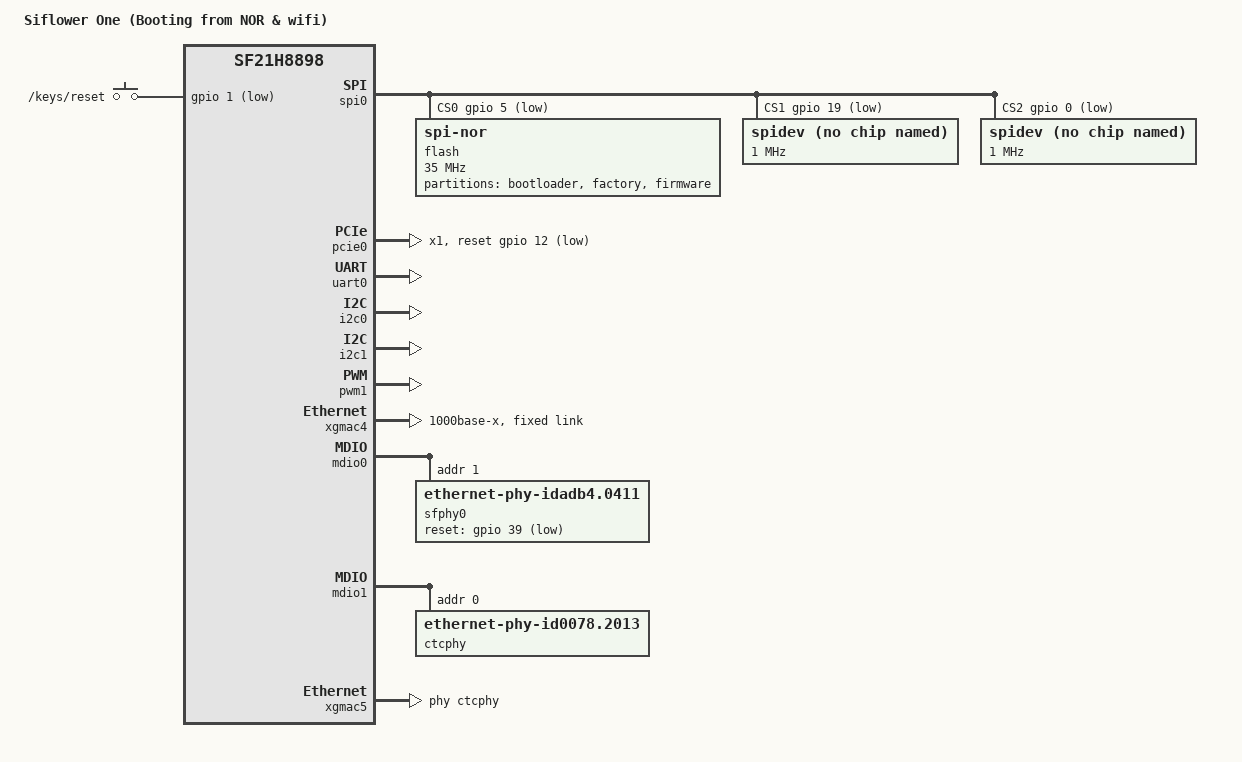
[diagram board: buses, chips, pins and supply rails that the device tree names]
/dts-v1/;
#include "sf21h8898-siflower-one.dtsi"


/ {
	model = "Siflower One (Booting from NOR & wifi)";
	compatible = "siflower,one-nor-wifi", "siflower,melit", "siflower,sf21h8898";

	aliases {
		spi0 = &spi0;
	};
};

&spi0 {
	status = "okay";
	num-cs = <3>;
	cs-gpios = <&gpio 5 GPIO_ACTIVE_LOW>, <&gpio 19 GPIO_ACTIVE_LOW>,
	            <&gpio 0 GPIO_ACTIVE_LOW>;

	flash@0 {
		compatible = "jedec,spi-nor";
		reg = <0>;
		spi-max-frequency = <35000000>;
		spi-tx-bus-width = <4>;
		spi-rx-bus-width = <4>;

	        partitions {
			compatible = "fixed-partitions";
			#address-cells = <1>;
			#size-cells = <1>;

			partition@0 {
				label = "bootloader";
				reg = <0x0 0x90000>;
				read-only;
			};

			factory: partition@90000 {
				label = "factory";
				reg = <0x90000 0x10000>;
			};

			partition@a0000 {
				label = "firmware";
				reg = <0xa0000 0x0>;
				compatible = "denx,fit";
			};
		};
	};

	/* ---- 底板 QJ32F108 MCU：用户态 /dev/spidev0.1 访问 ----
	 * reg = <1> 对应上面 cs-gpios 的第 2 项（gpio19）
	 * compatible 必须用 spidev 白名单里的占位串，否则不会绑定 spidev
	 */
	spidev@1 {
		compatible = "rohm,dh2228fv";
		reg = <1>;
		spi-max-frequency = <1000000>;	/* 先 1MHz 跑通，再按 MCU 手册提频 */
		/* 按 QJ32F108 时序需要时再打开下面两行之一：
		 *	spi-cpha;  spi-cpol;       mode 1~3
		 *	spi-cs-high;               高有效片选
		 */
	};

	/* ---- 底板 FPGA：用户态 /dev/spidev0.2 访问 ----
	 * reg = <2> 对应上面 cs-gpios 的第 3 项（gpio0）
	 * compatible 必须用 spidev 白名单里的占位串，否则不会绑定 spidev
	 */
	spidev@2 {
		compatible = "rohm,dh2228fv";
		reg = <2>;
		spi-max-frequency = <1000000>;	/* 先 1MHz 跑通，再按 FPGA 手册提频 */
		/* 按 FPGA 时序需要时再打开下面两行之一：
		 *	spi-cpha;  spi-cpol;       mode 1~3
		 *	spi-cs-high;               高有效片选
		 */
	};
};

&pcie0 {
        reset-gpios = <&gpio 12 GPIO_ACTIVE_LOW>;
        reset-ms = <100>;
        num-lanes = <1>;
        lane-mode = <0>;
        status = "okay";
        pcie@0,0 {
                reg = <0x0000 0 0 0 0>;
                #address-cells = <3>;
                #size-cells = <2>;

                wifi@0,0 {
                        reg = <0x0 0 0 0 0>;
                        nvmem-cells = <&mtd_mac_address>, <&mtd_wifi_version>, <&mtd_wifi_info>, <&mtd_rssi_offset>, <&mtd_refpower>, <&mtd_calipower>;
                        nvmem-cell-names = "mac-address", "wifi-version", "wifi-info", "rssi-offset", "refpower", "calipower";
                        mac-address-increment = <2>;
                };

                wifi@0,1 {
                        reg = <0x100 0 0 0 0>;
                        nvmem-cells = <&mtd_mac_address>, <&mtd_wifi_version>, <&mtd_wifi_info>, <&mtd_rssi_offset>, <&mtd_refpower>, <&mtd_calipower>;
                        nvmem-cell-names = "mac-address", "wifi-version", "wifi-info", "rssi-offset", "refpower", "calipower";
                        mac-address-increment = <6>;
                };
        };
};

&uart0 {
    status = "okay";
};

&i2c0 {
    status = "okay";
    /delete-node/ rtc@51;
};

&i2c1 {
    status = "okay";
};

&leds {
    status = "disabled";
};

&pwm1 {
    status = "okay";
};

&{/keys/reset} {
    gpios = <&gpio 1 GPIO_ACTIVE_LOW>;
};

&usb_vbus {
	/delete-property/ gpio;
	/delete-property/ enable-active-high;
};

&iomux {
    rstbtn_pin: rstbtn_pin {
        pinctrl-single,pins = <CLK_OUT GPIO_MODE>;
        pinctrl-single,bias-pullup = <SW_PU SW_PU 0 SW_PU>;
        pinctrl-single,bias-pulldown = <0 SW_PD 0 SW_PD>;
    };
};

&xgmac4 {
    status = "okay";
    nvmem-cells = <&mtd_mac_address>;
    nvmem-cell-names = "mac-address";
    mac-address-increment = <1>;
    phy-mode = "1000base-x";
	sfp-external-control;
	pinctrl-names = "default";
	pinctrl-0 = <&mac4_mdio_pins>;
    /delete-property/ phy-handle;

    fixed-link {
        speed = <1000>;
        full-duplex;
		pause;
		asym-pause;
    };
};

&mdio0 {
    /delete-property/ reset-gpios;
    /delete-property/ reset-assert-us;
    /delete-property/ reset-deassert-us;
    /delete-node/ ethernet-phy@7;

    sfphy0: ethernet-phy@1 {
        compatible = "ethernet-phy-idadb4.0411";
        reg = <0x1>;
		reset-gpios = <&gpio 39 GPIO_ACTIVE_LOW>;
		reset-assert-us = <10000>;
		reset-deassert-us = <100000>;
    };
};

&mdio1 {
	ctcphy: ethernet-phy@0 {
		compatible = "ethernet-phy-id0078.2013";
		reg = <0x0>;
	};
};

&xgmac5 {
	status = "okay";
	tx-internal-delay-ps = <2793>;
	rx-internal-delay-ps = <1372>;
	phy-handle = <&ctcphy>;
	nvmem-cells = <&mtd_mac_address>;
	nvmem-cell-names = "mac-address";
	sfp-external-control;
};

#include "sf21h8898-factory.dtsi"
